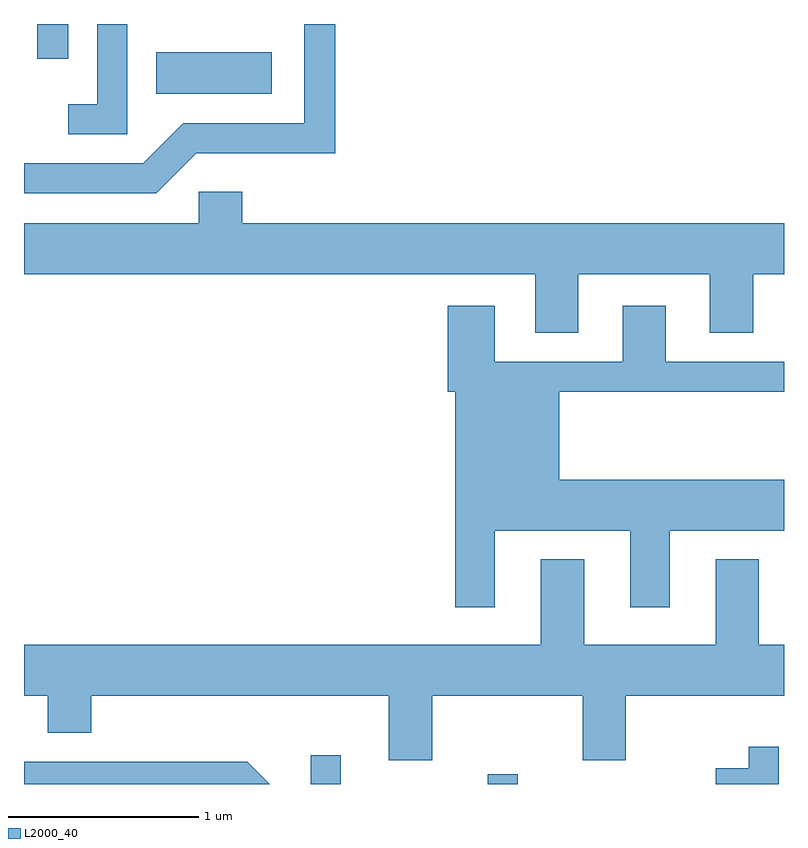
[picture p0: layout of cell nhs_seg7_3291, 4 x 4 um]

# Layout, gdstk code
import gdstk
lib = gdstk.Library(unit=1e-6, precision=1e-09)
def R(c, l, rs):  # rectangles x0, y0, x1, y1
    for r in rs: c.add(gdstk.rectangle(r[:2], r[2:], *l))
def P(c, l, *ps):  # polygons
    for p in ps: c.add(gdstk.Polygon(p, *l))
L2000_40 = (2000, 40)

nhs_seg7_3291 = lib.new_cell('nhs_seg7_3291')
R(nhs_seg7_3291, L2000_40, [(287.121,1758.252,287.279,1758.403), (288.051,1758.252,288.209,1758.303), (286.306,1761.886,286.914,1762.104), (285.681,1762.068,285.844,1762.252)])
P(nhs_seg7_3291, L2000_40, [(286.154,1762.252),(285.996,1762.252),(285.996,1761.829),(285.843,1761.829),(285.843,1761.671),(286.154,1761.671)],
  [(286.517,1761.571),(287.249,1761.571),(287.249,1762.252),(287.086,1762.252),(287.086,1761.729),(286.449,1761.729),(286.239,1761.519),(285.611,1761.519),(285.611,1761.361),(286.307,1761.361)],
  [(288.529,1760.936),(289.221,1760.936),(289.221,1760.626),(289.449,1760.626),(289.449,1760.936),(289.611,1760.936),(289.611,1761.204),(286.759,1761.204),(286.759,1761.369),(286.531,1761.369),(286.531,1761.204),(285.611,1761.204),(285.611,1760.936),(288.301,1760.936),(288.301,1760.626),(288.529,1760.626)],
  [(288.089,1759.586),(288.801,1759.586),(288.801,1759.181),(289.009,1759.181),(289.009,1759.586),(289.611,1759.586),(289.611,1759.854),(288.429,1759.854),(288.429,1760.316),(289.611,1760.316),(289.611,1760.474),(288.989,1760.474),(288.989,1760.769),(288.761,1760.769),(288.761,1760.474),(288.089,1760.474),(288.089,1760.769),(287.841,1760.769),(287.841,1760.316),(287.881,1760.316),(287.881,1759.181),(288.089,1759.181)],
  [(287.759,1758.716),(288.551,1758.716),(288.551,1758.376),(288.779,1758.376),(288.779,1758.716),(289.611,1758.716),(289.611,1758.984),(289.479,1758.984),(289.479,1759.434),(289.251,1759.434),(289.251,1758.984),(288.559,1758.984),(288.559,1759.434),(288.331,1759.434),(288.331,1758.984),(285.611,1758.984),(285.611,1758.716),(285.736,1758.716),(285.736,1758.521),(285.964,1758.521),(285.964,1758.716),(287.531,1758.716),(287.531,1758.376),(287.759,1758.376)],
  [(289.584,1758.448),(289.426,1758.448),(289.426,1758.334),(289.251,1758.334),(289.251,1758.252),(289.584,1758.252)],
  [(286.787,1758.369),(285.611,1758.369),(285.611,1758.252),(286.904,1758.252)])

lib.write_gds('nhs_seg7_3291.gds')
